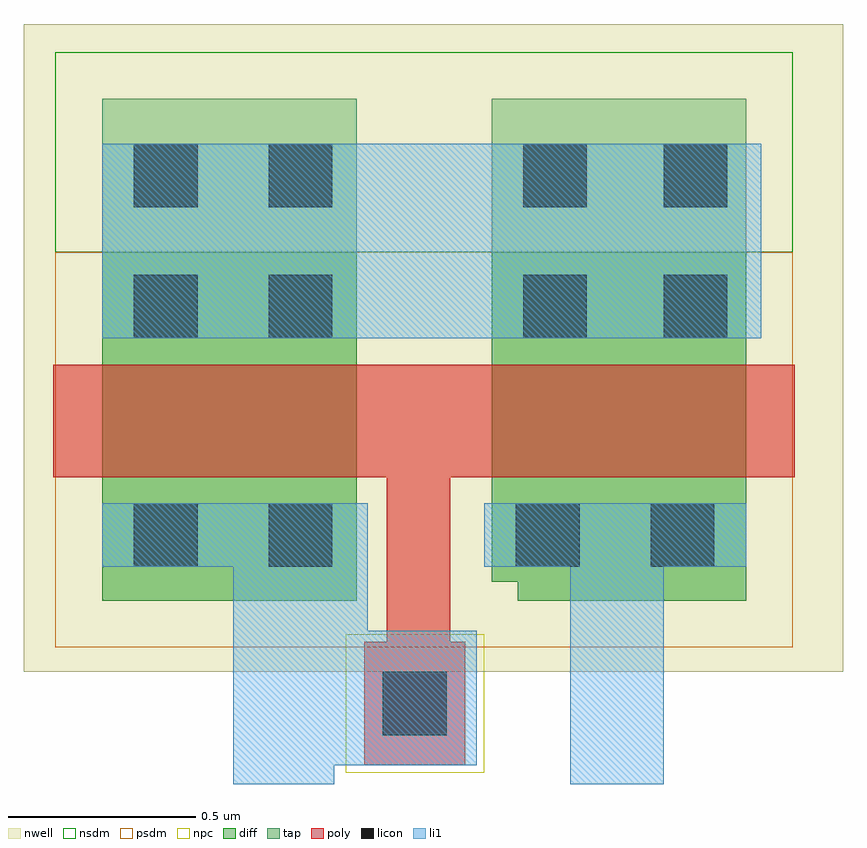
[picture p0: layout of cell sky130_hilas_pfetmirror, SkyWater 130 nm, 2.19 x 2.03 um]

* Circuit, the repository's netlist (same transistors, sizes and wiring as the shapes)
* Copyright 2020 The Hilas PDK Authors
* 
* This file is part of HILAS.
* 
* HILAS is free software: you can redistribute it and/or modify
* it under the terms of the GNU Lesser General Public License as published by
* the Free Software Foundation, version 3 of the License.
* 
* HILAS is distributed in the hope that it will be useful,
* but WITHOUT ANY WARRANTY; without even the implied warranty of
* MERCHANTABILITY or FITNESS FOR A PARTICULAR PURPOSE.  See the
* GNU Lesser General Public License for more details.
* 
* You should have received a copy of the GNU Lesser General Public License
* along with HILAS.  If not, see <https://www.gnu.org/licenses/>.
* 
* Licensed under the Lesser General Public License, Version 3.0 (the "License");
* you may not use this file except in compliance with the License.
* You may obtain a copy of the License at
* 
* https://www.gnu.org/licenses/lgpl-3.0.en.html
* 
* Unless required by applicable law or agreed to in writing, software
* distributed under the License is distributed on an "AS IS" BASIS,
* WITHOUT WARRANTIES OR CONDITIONS OF ANY KIND, either express or implied.
* See the License for the specific language governing permissions and
* limitations under the License.
* 
* SPDX-License-Identifier: LGPL-3.0
* 
* 

* NGSPICE file created from sky130_hilas_pFETmirror.ext - technology: sky130A


* Top level circuit sky130_hilas_pFETmirror

X0 w_n122_224# a_n106_328# a_n106_328# w_n122_224# sky130_fd_pr__pfet_01v8 w=680000u l=300000u
X1 w_n122_224# a_n106_328# a_128_272# w_n122_224# sky130_fd_pr__pfet_01v8 w=680000u l=300000u
.end

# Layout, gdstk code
import gdstk
lib = gdstk.Library(unit=1e-6, precision=1e-09)
def R(c, l, rs):  # rectangles x0, y0, x1, y1
    for r in rs: c.add(gdstk.rectangle(r[:2], r[2:], *l))
nwell = (64, 20)
diff = (65, 20)
tap = (65, 44)
poly = (66, 20)
licon = (66, 44)
li1 = (67, 20)
nsdm = (93, 44)
psdm = (94, 20)
npc = (95, 20)

sky130_hilas_pfetmirror = lib.new_cell('sky130_hilas_pfetmirror')
R(sky130_hilas_pfetmirror, nwell, [(-0.61,1.12,1.58,2.85)])
R(sky130_hilas_pfetmirror, diff, [(-0.4,1.31,0.28,2.24), (0.71,1.31,1.32,1.36), (0.64,1.36,1.32,2.24)])
R(sky130_hilas_pfetmirror, tap, [(-0.4,2.24,0.28,2.65), (0.64,2.24,1.32,2.65)])
R(sky130_hilas_pfetmirror, poly, [(0.3,0.87,0.57,1.2), (0.36,1.2,0.53,1.64), (-0.53,1.64,1.45,1.94)])
R(sky130_hilas_pfetmirror, licon, [(0.35,0.95,0.52,1.12), (-0.315,1.4,-0.145,1.57), (0.045,1.4,0.215,1.57), (0.705,1.4,0.875,1.57), (1.065,1.4,1.235,1.57), (-0.315,2.01,-0.145,2.18), (0.045,2.01,0.215,2.18), (0.725,2.01,0.895,2.18), (1.1,2.01,1.27,2.18), (-0.315,2.36,-0.145,2.53), (0.045,2.36,0.215,2.53), (0.725,2.36,0.895,2.53), (1.1,2.36,1.27,2.53)])
R(sky130_hilas_pfetmirror, li1, [(-0.05,0.82,0.22,0.87), (0.85,0.82,1.1,1.4), (-0.05,0.87,0.6,1.23), (-0.05,1.23,0.31,1.4), (-0.4,1.4,0.31,1.57), (0.62,1.4,1.32,1.57), (-0.4,2.01,1.36,2.53)])
R(sky130_hilas_pfetmirror, nsdm, [(-0.525,2.24,1.445,2.775)])
R(sky130_hilas_pfetmirror, psdm, [(-0.525,1.185,1.445,2.24)])
R(sky130_hilas_pfetmirror, npc, [(0.25,0.85,0.62,1.22)])

lib.write_gds('sky130_hilas_pfetmirror.gds')
